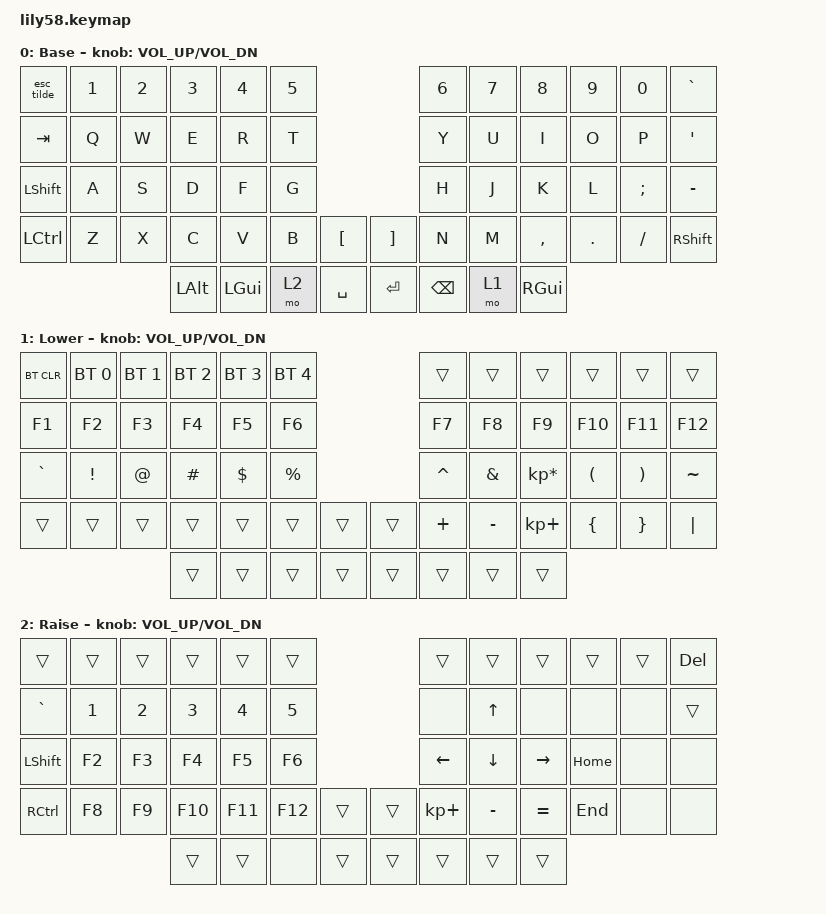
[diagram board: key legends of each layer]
/*
 * Copyright (c) 2020 The ZMK Contributors
 *
 * SPDX-License-Identifier: MIT
 */

#include <behaviors.dtsi>
#include <dt-bindings/zmk/bt.h>
#include <dt-bindings/zmk/keys.h>

/ {
    behaviors {
        esc_tilde: esc_tilde {
            compatible = "zmk,behavior-mod-morph";
            #binding-cells = <0>;
            bindings = <&kp ESC>, <&kp TILDE>;
            mods = <(MOD_LSFT|MOD_RSFT)>;
        };
    };

    keymap {
        compatible = "zmk,keymap";

        default_layer {
            // ------------------------------------------------------------------------------------------------------------
            // |  ESC  |  1  |  2  |  3   |  4   |  5   |                   |  6   |  7    |  8    |  9   |   0   |   `   |
            // |  TAB  |  Q  |  W  |  E   |  R   |  T   |                   |  Y   |  U    |  I    |  O   |   P   |   -   |
            // |  CTRL |  A  |  S  |  D   |  F   |  G   |                   |  H   |  J    |  K    |  L   |   ;   |   '   |
            // | SHIFT |  Z  |  X  |  C   |  V   |  B   |   "["  |  |  "]"  |  N   |  M    |  ,    |  .   |   /   | SHIFT |
            //                     | ALT  | GUI  | LOWER|  SPACE |  | ENTER | RAISE| BSPC  | GUI   |

            display-name = "Base";
            bindings = <
&esc_tilde        &kp N1  &kp N2  &kp N3    &kp N4    &kp N5                         &kp N6         &kp N7  &kp N8     &kp N9   &kp N0    &kp GRAVE
&kp TAB           &kp Q   &kp W   &kp E     &kp R     &kp T                          &kp Y          &kp U   &kp I      &kp O    &kp P     &kp APOSTROPHE
&kp LEFT_SHIFT    &kp A   &kp S   &kp D     &kp F     &kp G                          &kp H          &kp J   &kp K      &kp L    &kp SEMI  &kp MINUS
&kp LEFT_CONTROL  &kp Z   &kp X   &kp C     &kp V     &kp B   &kp LBKT     &kp RBKT  &kp N          &kp M   &kp COMMA  &kp DOT  &kp FSLH  &kp RSHFT
                                  &kp LALT  &kp LGUI  &mo 2   &kp SPACE    &kp RET   &kp BACKSPACE  &mo 1   &kp RGUI
            >;

            sensor-bindings = <&inc_dec_kp C_VOL_UP C_VOL_DN>;
        };

        lower_layer {
            // ------------------------------------------------------------------------------------------------------------
            // | BTCLR | BT1 | BT2 |  BT3 |  BT4 |  BT5 |                   |      |       |       |      |       |       |
            // |  F1   |  F2 |  F3 |  F4  |  F5  |  F6  |                   |  F7  |  F8   |  F9   |  F10 |  F11  |  F12  |
            // |   `   |  !  |  @  |  #   |  $   |  %   |                   |  ^   |  &    |  *    |  (   |   )   |   ~   |
            // |       |     |     |      |      |      |        |  |       |      |  _    |  +    |  {   |   }   |  "|"  |
            //                     |      |      |      |        |  |       |      |       |       |

            display-name = "Lower";
            bindings = <
&bt BT_CLR  &bt BT_SEL 0  &bt BT_SEL 1  &bt BT_SEL 2  &bt BT_SEL 3  &bt BT_SEL 4                    &trans     &trans     &trans           &trans    &trans    &trans
&kp F1      &kp F2        &kp F3        &kp F4        &kp F5        &kp F6                          &kp F7     &kp F8     &kp F9           &kp F10   &kp F11   &kp F12
&kp GRAVE   &kp EXCL      &kp AT        &kp HASH      &kp DOLLAR    &kp PRCNT                       &kp CARET  &kp AMPS   &kp KP_MULTIPLY  &kp LPAR  &kp RPAR  &kp TILDE
&trans      &trans        &trans        &trans        &trans        &trans        &trans    &trans  &kp PLUS   &kp MINUS  &kp KP_PLUS      &kp LBRC  &kp RBRC  &kp PIPE
                                        &trans        &trans        &trans        &trans    &trans  &trans     &trans     &trans
            >;

            sensor-bindings = <&inc_dec_kp C_VOL_UP C_VOL_DN>;
        };

        raise_layer {
            // ------------------------------------------------------------------------------------------------------------
            // |       |     |     |      |      |      |                   |      |       |       |      |       |       |
            // |   `   |  1  |  2  |  3   |  4   |  5   |                   |  6   |   7   |   8   |  9   |   0   |       |
            // |   F1  |  F2 |  F3 |  F4  |  F5  |  F6  |                   |      |   <-  |   v   |  ^   |  ->   |       |
            // |   F7  |  F8 |  F9 |  F10 |  F11 |  F12 |        |  |       |  +   |   -   |   =   |  [   |   ]   |   \   |
            //                     |      |      |      |        |  |       |      |       |       |

            display-name = "Raise";
            bindings = <
&trans             &trans  &trans  &trans   &trans   &trans                     &trans          &trans        &trans           &trans    &trans  &kp DELETE
&kp GRAVE          &kp N1  &kp N2  &kp N3   &kp N4   &kp N5                     &none           &kp UP_ARROW  &none            &none     &none   &trans
&kp LEFT_SHIFT     &kp F2  &kp F3  &kp F4   &kp F5   &kp F6                     &kp LEFT_ARROW  &kp DOWN      &kp RIGHT_ARROW  &kp HOME  &none   &none
&kp RIGHT_CONTROL  &kp F8  &kp F9  &kp F10  &kp F11  &kp F12  &trans    &trans  &kp KP_PLUS     &kp MINUS     &kp EQUAL        &kp END   &none   &none
                                   &trans   &trans   &none    &trans    &trans  &trans          &trans        &trans
            >;

            sensor-bindings = <&inc_dec_kp C_VOL_UP C_VOL_DN>;
        };

        extra_1 { status = "reserved"; };

        extra_2 { status = "reserved"; };

        extra_3 { status = "reserved"; };
    };
};
